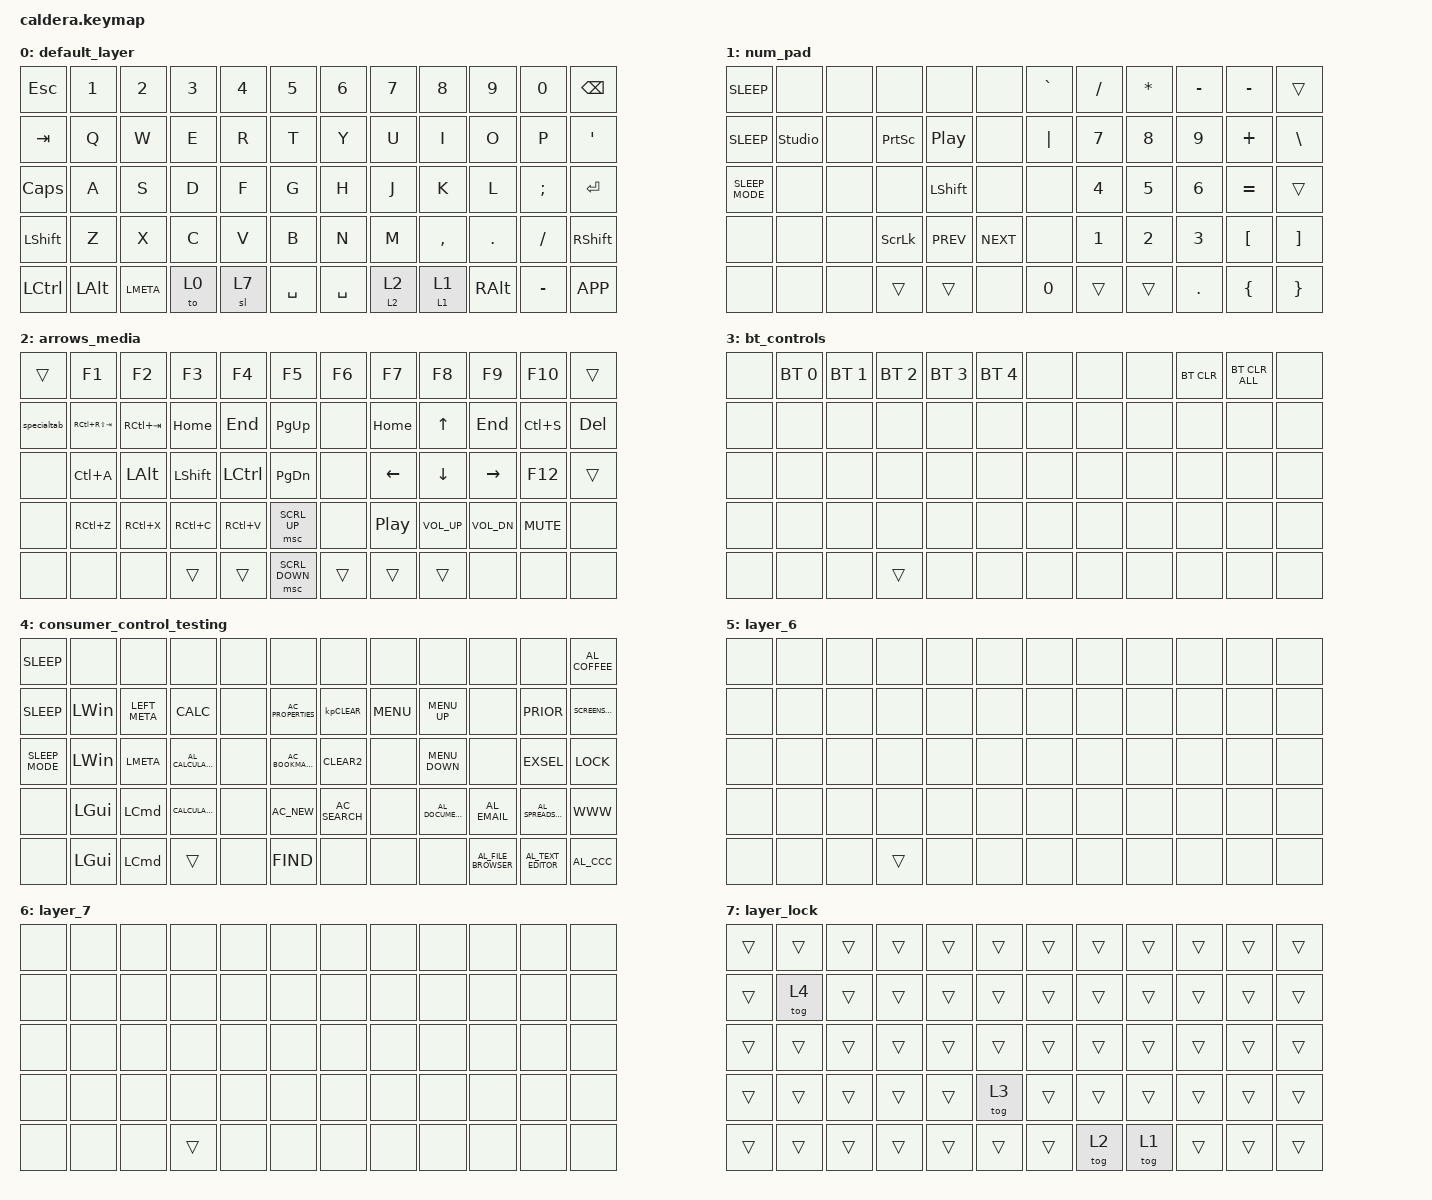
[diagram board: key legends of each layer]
#include <behaviors.dtsi>
#include <dt-bindings/zmk/bt.h>
#include <dt-bindings/zmk/keys.h>
#include <dt-bindings/zmk/pointing.h>

/ {
    macros {
        specialtab: specialtab {
            compatible = "zmk,behavior-macro";
            #binding-cells = <0>;
            bindings =
                <&macro_press>,
                <&kp LEFT_ALT>,
                <&macro_tap>,
                <&kp LA(TAB)>,
                <&macro_pause_for_release>,
                <&macro_release>,
                <&kp LEFT_ALT>;

            label = "SPECIALTAB";
        };
    };

    behaviors {
        layer_mo_lock: layer_mo_lock {
            compatible = "zmk,behavior-hold-tap";
            label = "LAYER_MO_LOCK";
            bindings = <&mo>, <&tog>;

            #binding-cells = <2>;
            tapping-term-ms = <200>;
        };
    };

    keymap {
        compatible = "zmk,keymap";

        default_layer {
            bindings = <
&kp ESCAPE    &kp N1    &kp N2     &kp N3  &kp N4  &kp N5       &kp N6     &kp N7              &kp N8              &kp N9         &kp N0     &kp BSPC
&kp TAB       &kp Q     &kp W      &kp E   &kp R   &kp T        &kp Y      &kp U               &kp I               &kp O          &kp P      &kp APOS
&kp CAPSLOCK  &kp A     &kp S      &kp D   &kp F   &kp G        &kp H      &kp J               &kp K               &kp L          &kp SEMI   &kp RET
&kp LSHFT     &kp Z     &kp X      &kp C   &kp V   &kp B        &kp N      &kp M               &kp COMMA           &kp DOT        &kp FSLH   &kp RIGHT_SHIFT
&kp LCTRL     &kp LALT  &kp LMETA  &to 0   &sl 7   &kp SPACE    &kp SPACE  &layer_mo_lock 2 2  &layer_mo_lock 1 1  &kp RIGHT_ALT  &kp MINUS  &kp K_APP
            >;
        };

        num_pad {
            bindings = <
&kp K_SLEEP       &none           &none  &none            &none             &none         &kp GRAVE  &kp SLASH     &kp ASTRK     &kp MINUS     &kp MINUS         &trans
&kp C_SLEEP       &studio_unlock  &none  &kp PRINTSCREEN  &kp C_PLAY_PAUSE  &none         &kp PIPE   &kp NUMBER_7  &kp NUMBER_8  &kp NUMBER_9  &kp PLUS          &kp BACKSLASH
&kp C_SLEEP_MODE  &none           &none  &none            &kp LEFT_SHIFT    &none         &none      &kp NUMBER_4  &kp NUMBER_5  &kp NUMBER_6  &kp EQUAL         &trans
&none             &none           &none  &kp SCROLLLOCK   &kp C_PREV        &kp C_NEXT    &none      &kp NUMBER_1  &kp NUMBER_2  &kp NUMBER_3  &kp LEFT_BRACKET  &kp RIGHT_BRACKET
&none             &none           &none  &trans           &trans            &none         &kp N0     &trans        &trans        &kp PERIOD    &kp LEFT_BRACE    &kp RIGHT_BRACE
            >;
        };

        arrows_media {
            bindings = <
&trans       &kp F1           &kp F2       &kp F3     &kp F4     &kp F5            &kp F6  &kp F7    &kp F8        &kp F9        &kp F10     &trans
&specialtab  &kp RC(RS(TAB))  &kp RC(TAB)  &kp HOME   &kp END    &kp PAGE_UP       &none   &kp HOME  &kp UP        &kp END       &kp LC(S)   &kp DEL
&none        &kp LC(A)        &kp LALT     &kp LSHFT  &kp LCTRL  &kp PAGE_DOWN     &none   &kp LEFT  &kp DOWN      &kp RIGHT     &kp F12     &trans
&none        &kp RC(Z)        &kp RC(X)    &kp RC(C)  &kp RC(V)  &msc SCRL_UP      &none   &kp C_PP  &kp C_VOL_UP  &kp C_VOL_DN  &kp C_MUTE  &none
&none        &none            &none        &trans     &trans     &msc SCRL_DOWN    &trans  &trans    &trans        &none         &none       &none
            >;
        };

        bt_controls {
            bindings = <
&none  &bt BT_SEL 0  &bt BT_SEL 1  &bt BT_SEL 2  &bt BT_SEL 3  &bt BT_SEL 4    &none  &none  &none  &bt BT_CLR  &bt BT_CLR_ALL  &none
&none  &none         &none         &none         &none         &none           &none  &none  &none  &none       &none           &none
&none  &none         &none         &none         &none         &none           &none  &none  &none  &none       &none           &none
&none  &none         &none         &none         &none         &none           &none  &none  &none  &none       &none           &none
&none  &none         &none         &trans        &none         &none           &none  &none  &none  &none       &none           &none
            >;
        };

        consumer_control_testing {
            bindings = <
&kp K_SLEEP       &none         &none             &none                &none  &none                  &none            &none       &none               &none                  &none                 &kp C_AL_COFFEE
&kp C_SLEEP       &kp LWIN      &kp LEFT_META     &kp K_CALC           &none  &kp C_AC_PROPERTIES    &kp KP_CLEAR     &kp C_MENU  &kp C_MENU_UP       &none                  &kp PRIOR             &kp K_SCREENSAVER
&kp C_SLEEP_MODE  &kp LEFT_WIN  &kp LMETA         &kp C_AL_CALCULATOR  &none  &kp C_AC_BOOKMARKS     &kp CLEAR2       &none       &kp C_MENU_DOWN     &none                  &kp EXSEL             &kp K_LOCK
&none             &kp LEFT_GUI  &kp LEFT_COMMAND  &kp K_CALCULATOR     &none  &kp C_AC_NEW           &kp C_AC_SEARCH  &none       &kp C_AL_DOCUMENTS  &kp C_AL_EMAIL         &kp C_AL_SPREADSHEET  &kp K_WWW
&none             &kp LGUI      &kp LCMD          &trans               &none  &kp K_FIND             &none            &none       &none               &kp C_AL_FILE_BROWSER  &kp C_AL_TEXT_EDITOR  &kp C_AL_CCC
            >;
        };

        layer_6 {
            bindings = <
&none  &none  &none  &none   &none  &none    &none  &none  &none  &none  &none  &none
&none  &none  &none  &none   &none  &none    &none  &none  &none  &none  &none  &none
&none  &none  &none  &none   &none  &none    &none  &none  &none  &none  &none  &none
&none  &none  &none  &none   &none  &none    &none  &none  &none  &none  &none  &none
&none  &none  &none  &trans  &none  &none    &none  &none  &none  &none  &none  &none
            >;
        };

        layer_7 {
            bindings = <
&none  &none  &none  &none   &none  &none    &none  &none  &none  &none  &none  &none
&none  &none  &none  &none   &none  &none    &none  &none  &none  &none  &none  &none
&none  &none  &none  &none   &none  &none    &none  &none  &none  &none  &none  &none
&none  &none  &none  &none   &none  &none    &none  &none  &none  &none  &none  &none
&none  &none  &none  &trans  &none  &none    &none  &none  &none  &none  &none  &none
            >;
        };

        layer_lock {
            bindings = <
&trans  &trans  &trans  &trans  &trans  &trans    &trans  &trans  &trans  &trans  &trans  &trans
&trans  &tog 4  &trans  &trans  &trans  &trans    &trans  &trans  &trans  &trans  &trans  &trans
&trans  &trans  &trans  &trans  &trans  &trans    &trans  &trans  &trans  &trans  &trans  &trans
&trans  &trans  &trans  &trans  &trans  &tog 3    &trans  &trans  &trans  &trans  &trans  &trans
&trans  &trans  &trans  &trans  &trans  &trans    &trans  &tog 2  &tog 1  &trans  &trans  &trans
            >;
        };
    };
};

